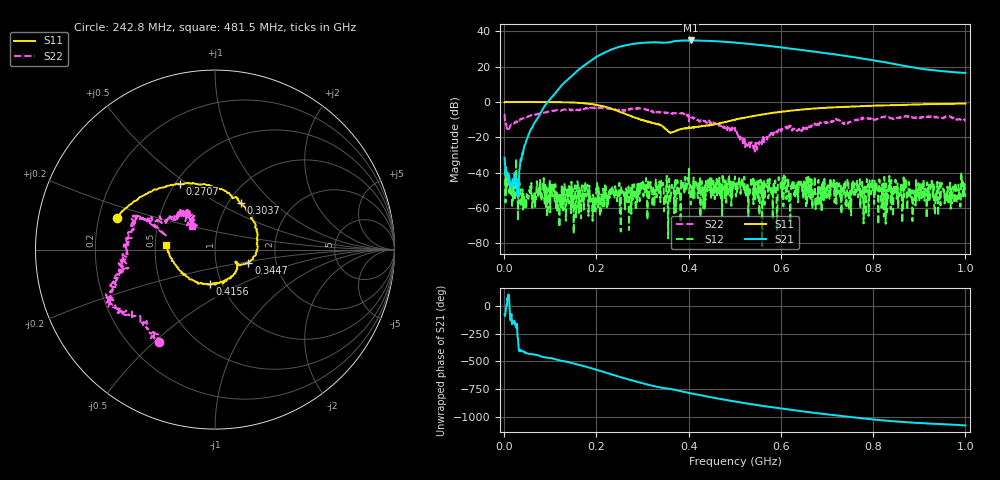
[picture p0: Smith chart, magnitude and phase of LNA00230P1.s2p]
! Created with skrf 1.9.0 (http://scikit-rf.org).
# Hz S RI R 50.0
!freq ReS11 ImS11 ReS21 ImS21 ReS12 ImS12 ReS22 ImS22
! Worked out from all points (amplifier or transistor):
!   1001 points, 1 MHz to 1 GHz, reference 50 ohm
!   highest |S21| = 34.8 dB at 404.6 MHz (marker M1)
!   |S21| within 3 dB of that: 259.5 MHz to 569.3 MHz (309.8 MHz wide, 74.8 % of centre)
!   unconditionally stable (mu >= 1): start of sweep to 85.89 MHz; 202.8 MHz to 297.6 MHz; 307.8 MHz to end of sweep (the widest 3 of 21)
!   at 166.8 MHz: K = 8.44, MAG = 30.4 dB, |S12| = -66.0 dB
!   at 500.5 MHz: K = 1.38, MAG = 34.2 dB, |S12| = -42.2 dB
!   at 1 GHz: K = 6.19, MAG = 24.2 dB, |S12| = -53.7 dB
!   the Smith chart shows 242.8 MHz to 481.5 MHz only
!   S11 on the Smith chart (normalised r, x): 242.8 MHz: 0.28, +0.15; 270.7 MHz: 0.53, +0.47; 303.7 MHz: 1.14, +0.65; 344.7 MHz: 1.44, -0.22; 415.6 MHz: 0.88, -0.35; 481.5 MHz: 0.57, +0.03
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1000000  0.9721 -0.00571  0.00603 -0.0256  -0.00982 -0.00805  0.3353 0.3124
1.08892e8  0.51 -0.8496  -0.7652 -1.466  -0.000384 -0.00197  0.4225 -0.3681
1.67833e8  -0.2554 -0.8906  -9.525 -0.6132  0.00168 -0.00245  0.0425 -0.6208
2.09791e8  -0.6888 -0.3603  -15.19 16.08  0.000724 0.000284  -0.1837 -0.6688
2.42758e8  -0.5448 0.1755  -0.3849 33.81  -0.000549 -0.00311  -0.3141 -0.5167
2.7073e8  -0.1972 0.3664  23.14 34.73  -0.000101 -0.000214  -0.5215 -0.3644
3.03697e8  0.1462 0.2596  44.67 15.48  -0.00494 0.00047  -0.5879 -0.2325
3.34666e8  0.2347 -0.00702  47.35 -9.409  -0.00318 0.00317  -0.5147 -0.0431
3.44656e8  0.1858 -0.0723  44.57 -15.51  -0.00216 0.00458  -0.4896 -0.0168
3.72628e8  0.1236 -0.0861  41.7 -32.65  0.000269 0.000702  -0.4554 0.1623
4.04596e8  0.0324 -0.179  20.95 -50.7  -0.000808 0.000945  -0.3464 0.1529
4.15585e8  -0.0297 -0.1937  12.9 -53.03  0.00408 0.00423  -0.2561 0.1789
4.45555e8  -0.1704 -0.1419  -9.752 -52.17  0.000523 0.00313  -0.1559 0.2019
4.81519e8  -0.2723 0.0254  -30.56 -39.68  0.00132 -0.000458  -0.1289 0.1338
5.005e8  -0.281 0.1264  -37.43 -30.08  -0.00776 -0.000748  -0.1236 0.1382
5.4046e8  -0.2051 0.3428  -41.64 -8.887  0.000832 -0.000964  -0.0362 0.0332
5.88412e8  0.0102 0.5036  -34.68 11.1  0.00375 -0.0037  -0.1198 -0.0761
6.28372e8  0.2056 0.542  -24.09 20.1  -0.00145 -0.00202  -0.1259 -0.1062
6.67333e8  0.3965 0.5061  -13.11 23.41  0.00353 -0.00269  -0.2122 -0.0385
7.53247e8  0.6776 0.2908  3.923 18.38  -0.00268 -0.00228  -0.278 0.0297
8.34166e8  0.8003 0.032  9.056 8.842  -0.00315 -0.00265  -0.364 0.068
1e9  0.7371 -0.5141  6.627 0.3419  0.000573 0.00198  -0.1425 0.255
